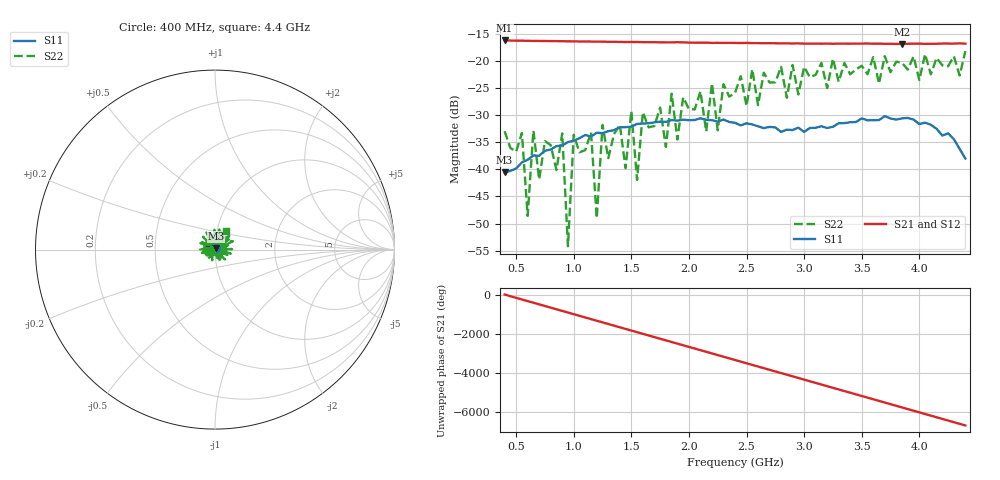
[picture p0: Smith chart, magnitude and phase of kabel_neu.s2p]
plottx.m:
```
% rfinterp1
cable = sparameters('16-Dec-2014/kabel_neu.s2p');

corr = -20*log10(abs(rfparam(cable, 2, 1)));

load('16-Dec-2014/tx_50_8_0.8.mat');
powscorr = repmat(corr',8,1)+reshape(mean(pows,2),8,81);
subplot(2,1,1);
plot(rffreqs, powscorr);
title('a = 0.8');
legend(cellstr(num2str(gains', '%g')), 'Location', 'NorthWest');
xlabel('f');
ylabel('p/dBm');

load('16-Dec-2014/tx_50_8_1.0.mat');
powscorr = repmat(corr',8,1)+reshape(mean(pows,2),8,81);
subplot(2,1,2);
plot(rffreqs, powscorr);
title('a = 1');
legend(cellstr(num2str(gains', '%g')), 'Location', 'NorthWest');
xlabel('f');
ylabel('p/dBm');
```
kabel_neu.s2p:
#  HZ  S  RI  R  50.0
! Rohde & Schwarz ZVL
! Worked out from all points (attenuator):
!   81 points, 400 MHz to 4.4 GHz, reference 50 ohm
!   highest |S21| = -16.27 dB at 400 MHz (marker M1); lowest = -16.9 dB at 3.85 GHz (marker M2)
!   lowest |S11| = -40.6 dB at 400 MHz (marker M3), VSWR 1.02, Z = 50.6 + j0.738 ohm
!   |S11| at or under -10 dB: start of sweep to end of sweep
!   |S22| runs from -54.2 to -18.2 dB; largest |S21 - S12| = 0.0015
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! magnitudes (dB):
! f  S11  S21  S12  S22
! 400 MHz  -40.6  -16.3  -16.3  -33.0
! 600 MHz  -38.2  -16.3  -16.3  -48.6
! 650 MHz  -37.4  -16.3  -16.3  -32.9
! 900 MHz  -35.6  -16.4  -16.4  -33.4
! 950 MHz  -35.0  -16.4  -16.4  -54.2
! 1 GHz  -34.7  -16.4  -16.4  -33.6
! 1.2 GHz  -33.3  -16.5  -16.5  -49.0
! 1.25 GHz  -33.3  -16.5  -16.5  -31.8
! 2.4 GHz  -31.4  -16.7  -16.7  -25.9
! 3.85 GHz  -30.6  -16.9  -16.9  -20.4
! 4.4 GHz  -38.0  -16.8  -16.9  -18.2
